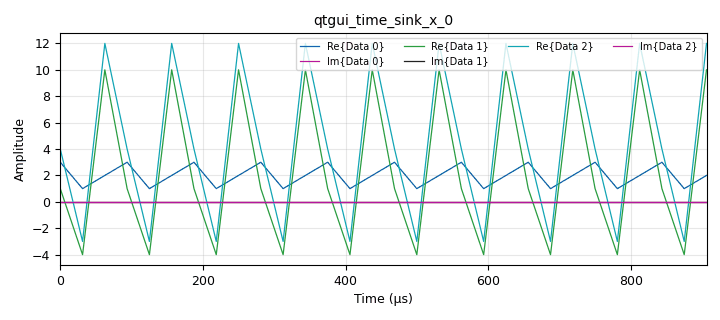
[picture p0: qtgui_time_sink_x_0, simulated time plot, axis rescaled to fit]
<?xml version='1.0' encoding='utf-8'?>
<?grc format='1' created='3.7.13'?>
<flow_graph>
<block>
<key>options</key>
<param><key>id</key><value>top_block</value></param>
<param><key>generate_options</key><value>qt_gui</value></param>
</block>
<block>
<key>variable</key>
<param><key>id</key><value>samp_rate</value></param>
<param><key>value</key><value>32000</value></param>
</block>
<block>
<key>blocks_vector_source_x</key>
<param><key>id</key><value>blocks_vector_source_x_0</value></param>
<param><key>type</key><value>complex</value></param>
<param><key>repeat</key><value>True</value></param>
<param><key>vector</key><value>(1, 2, 3)</value></param>
</block>
<block>
<key>blocks_vector_source_x</key>
<param><key>id</key><value>blocks_vector_source_x_0_0</value></param>
<param><key>type</key><value>complex</value></param>
<param><key>repeat</key><value>True</value></param>
<param><key>vector</key><value>(-4, 10, 1)</value></param>
</block>
<block>
<key>epy_block</key>
<param><key>id</key><value>epy_block_0</value></param>
<param><key>_source_code</key><value>
import numpy as np
from gnuradio import gr


class e_add_cc(gr.sync_block):  
    """e-ddd blok. Hace lo mismo que add solo que es un embebido creado para propositos pedagogicos"""

    def __init__(self):
        """arguments to this function show up as parameters in GRC"""
        gr.sync_block.__init__(
            self,
            name='e_dd_ff',   # will show up in GRC
            in_sig=[np.complex64,np.complex64],
            out_sig=[np.complex64]
        )
        
    def work(self, input_items, output_items):
	in0 = input_items[0]
	in1 = input_items[1]
	out0 = output_items[0]
	out0[:]=in0+in1
        return len(out0)
</value></param>
</block>
<block>
<key>qtgui_time_sink_x</key>
<param><key>id</key><value>qtgui_time_sink_x_0</value></param>
<param><key>color1</key><value>"blue"</value></param>
<param><key>label1</key><value></value></param>
<param><key>color2</key><value>"red"</value></param>
<param><key>label2</key><value></value></param>
<param><key>color3</key><value>"green"</value></param>
<param><key>label3</key><value></value></param>
<param><key>color4</key><value>"black"</value></param>
<param><key>label4</key><value></value></param>
<param><key>color5</key><value>"cyan"</value></param>
<param><key>label5</key><value></value></param>
<param><key>color6</key><value>"magenta"</value></param>
<param><key>label6</key><value></value></param>
<param><key>nconnections</key><value>3</value></param>
<param><key>size</key><value>3*10</value></param>
<param><key>srate</key><value>samp_rate</value></param>
<param><key>type</key><value>complex</value></param>
</block>
<connection><source_block_id>blocks_vector_source_x_0</source_block_id><sink_block_id>epy_block_0</sink_block_id><source_key>0</source_key><sink_key>0</sink_key></connection>
<connection><source_block_id>blocks_vector_source_x_0</source_block_id><sink_block_id>qtgui_time_sink_x_0</sink_block_id><source_key>0</source_key><sink_key>0</sink_key></connection>
<connection><source_block_id>blocks_vector_source_x_0_0</source_block_id><sink_block_id>epy_block_0</sink_block_id><source_key>0</source_key><sink_key>1</sink_key></connection>
<connection><source_block_id>blocks_vector_source_x_0_0</source_block_id><sink_block_id>qtgui_time_sink_x_0</sink_block_id><source_key>0</source_key><sink_key>1</sink_key></connection>
<connection><source_block_id>epy_block_0</source_block_id><sink_block_id>qtgui_time_sink_x_0</sink_block_id><source_key>0</source_key><sink_key>2</sink_key></connection>
</flow_graph>
